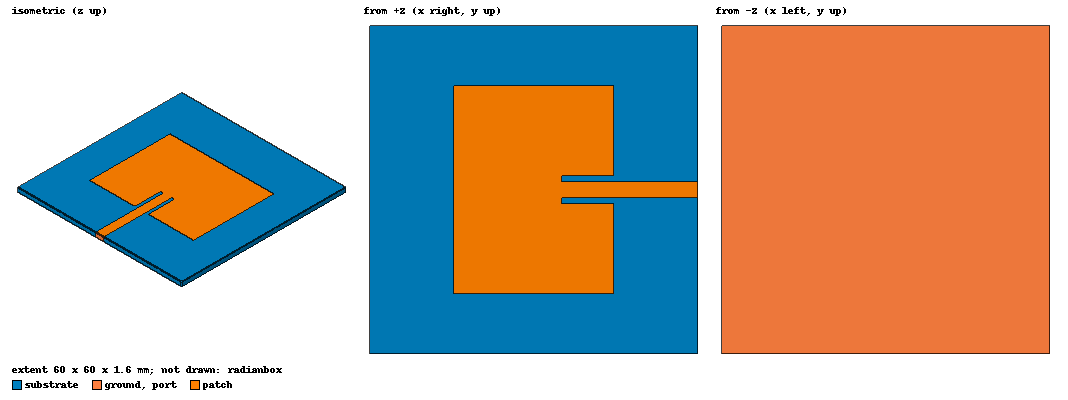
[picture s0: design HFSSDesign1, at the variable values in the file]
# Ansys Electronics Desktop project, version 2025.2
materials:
  vacuum: permittivity=1
  FR4_epoxy: permittivity=4.4 dielectric_loss_tangent=0.02
  air: permittivity=1.0006 permeability=1.0000004

design HFSSDesign1 (HFSS, HFSS Terminal Network, model units mm)
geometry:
  ground = rectangle(corner=(-30mm, -30mm, 0mm), x_size=60mm, y_size=60mm)
  substrate [FR4_epoxy] = box(corner=(-30mm, -30mm, 0mm), size=(60mm, 60mm, 1.6mm))
  patch = rectangle(corner=((-29.4/2) mm, (-38/2) mm, 1.6mm), x_size=29.4mm, y_size=38mm)
  feed = rectangle(corner=(0mm, -1.5mm, 1.6mm), x_size=30mm, y_size=3mm)
  slot = rectangle(corner=(14.7mm, -2.5mm, 1.6mm), x_size=-9.5mm, y_size=5mm)
  patch.subtract(slot)
  patch.unite(feed)
  port = rectangle(corner=(30mm, -1.5mm, 1.6mm), y_size=3mm, z_size=-1.6mm)
  radianbox [air] = box(corner=(-40mm, -40mm, -20mm), size=(80mm, 80mm, 40mm))
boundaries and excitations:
  PerfE1: Perfect E Objects=[ground, patch]
  Rad1: Radiation Objects=radianbox
  1: Lumped Port Objects=port LumpedPortType=Modal Modes{Mode1{IntLine{(30, 0.1, 0) -> (30, 0.1, 1.6)} CharImp=Zpi RenormImp=50ohm}} Impedance=50ohm
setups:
  Setup1: HfssDriven Frequency=2.4GHz MaxDeltaS=0.02 MaximumPasses=6 MinimumPasses=1 MinimumConvergedPasses=1 PercentRefinement=30 BasisOrder=1 PortAccuracy=2 DrivenSolverType="Direct Solver"
    sweep Sweep: 1GHz to 3GHz, 401 points; Type=Fast SaveFields
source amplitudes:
  1:1: 1V 0deg
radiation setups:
  Infinite Sphere1: Infinite Sphere Theta=0deg..180deg step 10deg Phi=0deg..360deg step 10deg
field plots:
  Mag_Jsurf1: Jsurf over patch.face(at (7.65, 0, 1.6)) on Setup1 : LastAdaptive at Freq=2.4GHz Phase=0deg
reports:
  S Parameter Plot1: dB(S(1,1)) vs Freq on Setup1 : Sweep; markers m1 at 2.285GHz
  Gain Plot1: GainTotal vs Phi, Theta on Setup1 : LastAdaptive, Infinite Sphere1 [Freq=2.4GHz]
  rE Plot1: rETotal vs Phi, Theta on Setup1 : LastAdaptive, Infinite Sphere1 [Freq=2.4GHz]
  VSWR Plot1: VSWR(1) vs Freq on Setup1 : Sweep
